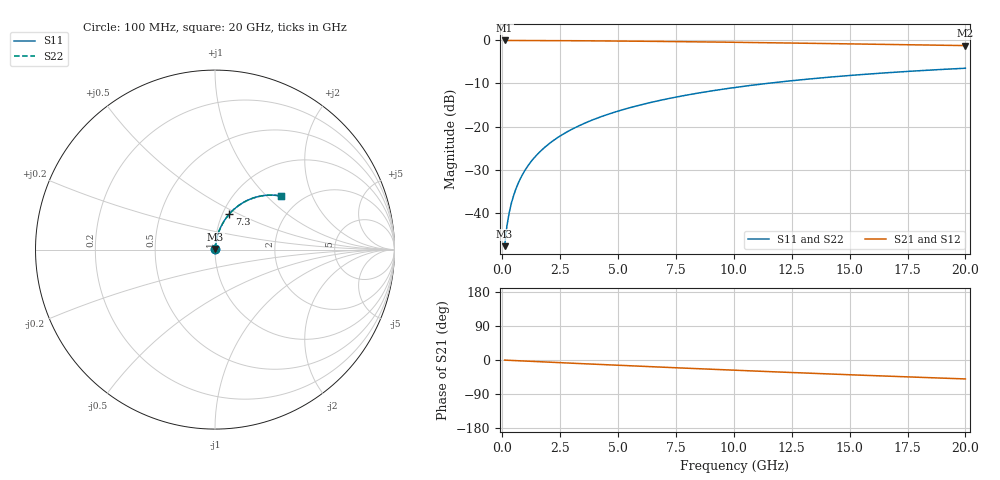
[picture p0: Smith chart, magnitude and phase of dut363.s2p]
! Touchstone file exported from HFSS 2026.1.0
!  File:  C:/ffzhzh/LocalFiles/Ansys_Project_Files/temp_train_BSMRDL_363_1783011637_51716.aedt
!  Generated:  01:02:16 AM Jul  3, 2026
!  Design:  BSMRDL
!  Project:  temp_train_BSMRDL_363_1783011637_51716
! Variables:
!  h_bsmrdl = 5.28um
!  h_ox = 20um
!  h_rdl = 5um
!  h_sub = 80um
!  h_tmrdl = 5um
!  h_tsv = 80um
!  h_via = 3um
!  l_bsmrdl = 728.07um
!  l_sub = 1128.07um
!  l_tmrdl = 200um
!  m_sub = 200um
!  pitch = 59.59um
!  r_tsv = 6um
!  s_tmrdl = 10um
!  w_bsmrdl = 22.09um
!  w_sub = 500um
!  w_tmrdl = 12um
!  x_tsv_center1 = 206um
!  x_tsv_center2 = 956.16um
!  x_tsv_center3 = 1168.16um
!  x_tsv_center4 = 1918.32um
!  x_tsv_center5 = 2130.32um
!  x_tsv_center6 = 2880.48um
# GHz S MA R 50.000000
! Terminal data exported
! Port[1] = BSM_RDL1_1_T1
! Port[2] = BSM_RDL1_1_T2
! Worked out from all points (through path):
!   200 points, 100 MHz to 20 GHz, reference 50 ohm
!   highest |S21| = -0.02 dB at 100 MHz (marker M1); lowest = -1.2 dB at 20 GHz (marker M2)
!   group delay of S21, straight-line fit = 6.94 ps
!   lowest |S11| = -47.8 dB at 100 MHz (marker M3), VSWR 1.01, Z = 50.2 + j0.334 ohm
!   |S11| at or under -10 dB: start of sweep to 11.43 GHz
!   |S22| runs from -47.8 to -6.5 dB; largest |S21 - S12| = 1.1e-14
!   S11 on the Smith chart (normalised r, x): 100 MHz: 1.00, +0.01; 7.3 GHz: 1.08, +0.45; 20 GHz: 1.59, +1.23
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0.1  0.004084 54.4  0.9976 -0.3  0.9976 -0.3  0.004084 54.4
! Gamma 0 0 0 0
! Port Impedance 50 0 50 0
0.2  0.00702 68.5  0.9975 -0.6  0.9975 -0.6  0.00702 68.5
0.3  0.01006 74.0  0.9973 -0.9  0.9973 -0.9  0.01006 74.0
0.4  0.01311 76.9  0.9972 -1.1  0.9972 -1.1  0.01311 76.9
0.5  0.01618 78.6  0.9971 -1.4  0.9971 -1.4  0.01618 78.6
0.7  0.02235 80.5  0.9969 -2.0  0.9969 -2.0  0.02235 80.5
0.8  0.02544 81.1  0.9967 -2.3  0.9967 -2.3  0.02544 81.1
1  0.03164 81.6  0.9965 -2.8  0.9965 -2.8  0.03164 81.6
1.4  0.04402 81.7  0.9958 -4.0  0.9958 -4.0  0.04402 81.7
1.7  0.05327 81.4  0.9951 -4.8  0.9951 -4.8  0.05327 81.4
2  0.06247 80.9  0.9943 -5.7  0.9943 -5.7  0.06247 80.9
2.7  0.08372 79.5  0.9922 -7.6  0.9922 -7.6  0.08372 79.4
3.5  0.1076 77.5  0.9892 -9.8  0.9892 -9.8  0.1076 77.5
4.2  0.128 75.8  0.9862 -11.7  0.9862 -11.7  0.128 75.8
5  0.151 73.8  0.9823 -13.9  0.9823 -13.9  0.151 73.8
6.8  0.2008 69.3  0.9723 -18.7  0.9723 -18.7  0.2008 69.2
7.3  0.2142 68.0  0.9692 -20.0  0.9692 -20.0  0.2142 68.0
8.6  0.248 64.8  0.9606 -23.3  0.9606 -23.3  0.248 64.8
10.1  0.2851 61.1  0.9498 -27.1  0.9498 -27.1  0.2852 61.1
13.4  0.3592 53.3  0.9237 -35.2  0.9237 -35.2  0.3592 53.3
16.7  0.4224 45.9  0.8964 -42.8  0.8964 -42.8  0.4224 45.8
20  0.4748 38.9  0.8698 -49.9  0.8698 -49.9  0.4749 38.8
